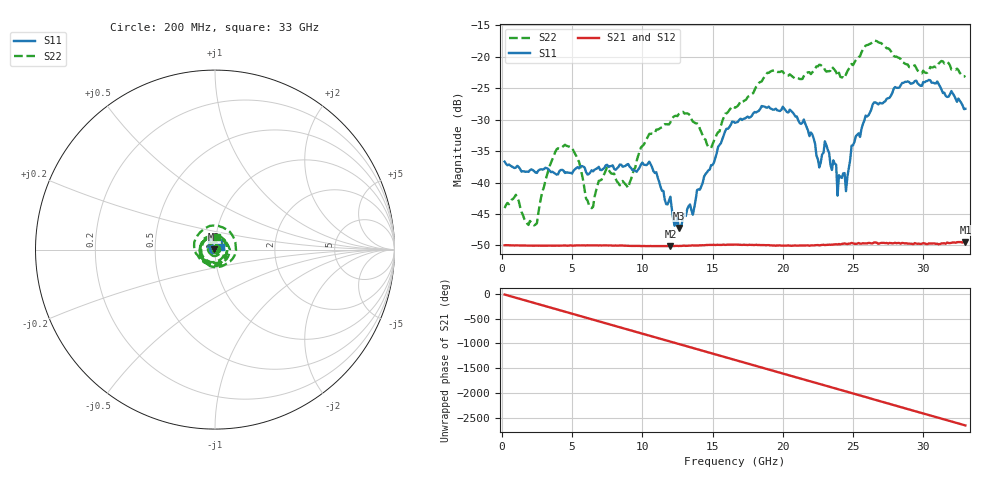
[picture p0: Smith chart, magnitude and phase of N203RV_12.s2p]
# GHZ S RI R 50
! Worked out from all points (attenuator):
!   329 points, 200 MHz to 33 GHz, reference 50 ohm
!   highest |S21| = -49.46 dB at 33 GHz (marker M1); lowest = -50.1 dB at 12 GHz (marker M2)
!   lowest |S11| = -47.2 dB at 12.6 GHz (marker M3), VSWR 1.01, Z = 49.6 + j0.209 ohm
!   |S11| at or under -10 dB: start of sweep to end of sweep
!   |S22| runs from -46.8 to -17.4 dB; largest |S21 - S12| = 7.3e-05
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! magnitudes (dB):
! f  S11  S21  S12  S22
! 200 MHz  -36.7  -50.0  -50.0  -44.1
! 2.5 GHz  -38.5  -50.0  -50.0  -46.5
! 4.5 GHz  -38.5  -50.0  -50.0  -34.0
! 5.7 GHz  -37.4  -50.0  -50.0  -38.6
! 6.4 GHz  -38.0  -50.0  -50.0  -44.1
! 7.5 GHz  -37.2  -50.0  -50.0  -37.5
! 9 GHz  -37.1  -50.1  -50.0  -40.8
! 11.2 GHz  -39.9  -50.1  -50.1  -31.5
! 12 GHz  -42.3  -50.1  -50.1  -30.4
! 12.6 GHz  -47.2  -50.1  -50.1  -29.1
! 14.9 GHz  -37.2  -49.9  -49.9  -34.5
! 16.6 GHz  -30.5  -49.9  -49.9  -28.1
! 20 GHz  -27.9  -50.0  -50.0  -22.3
! 22.1 GHz  -32.3  -50.0  -50.0  -22.5
! 22.6 GHz  -37.6  -50.0  -49.9  -21.3
! 23 GHz  -33.4  -49.9  -49.9  -22.1
! 23.8 GHz  -37.1  -49.8  -49.8  -22.4
! 23.9 GHz  -42.1  -49.9  -49.8  -23.0
! 25.9 GHz  -29.3  -49.7  -49.7  -18.2
! 27.6 GHz  -26.5  -49.6  -49.6  -18.8
! 30.4 GHz  -23.7  -49.7  -49.7  -22.2
! 33 GHz  -28.3  -49.5  -49.5  -23.2
